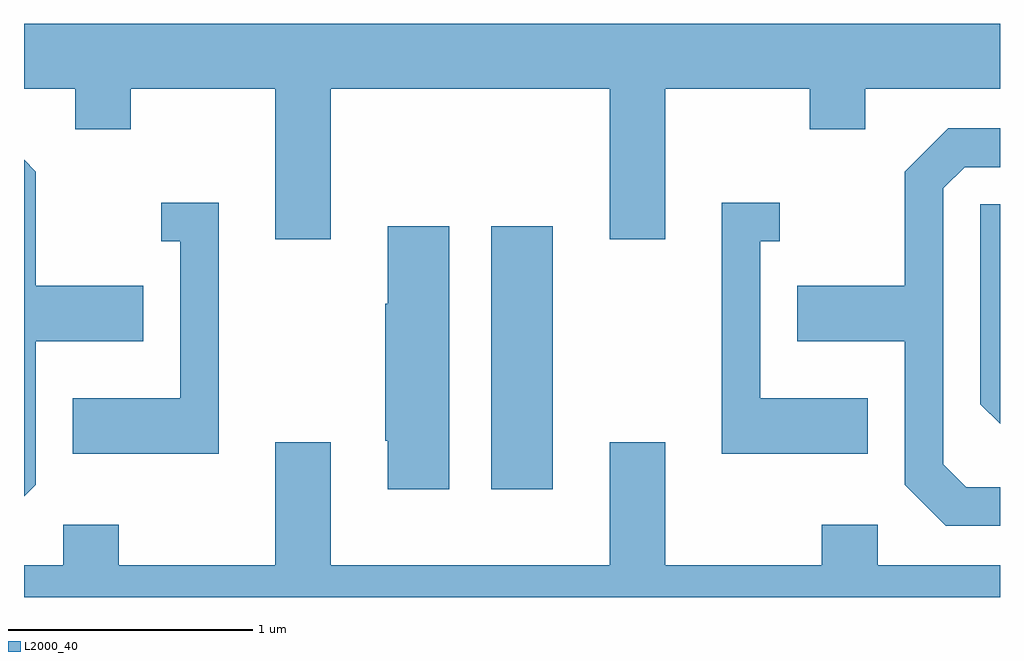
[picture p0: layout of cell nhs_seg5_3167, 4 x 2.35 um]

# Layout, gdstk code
import gdstk
lib = gdstk.Library(unit=1e-6, precision=1e-09)
def R(c, l, rs):  # rectangles x0, y0, x1, y1
    for r in rs: c.add(gdstk.rectangle(r[:2], r[2:], *l))
def P(c, l, *ps):  # polygons
    for p in ps: c.add(gdstk.Polygon(p, *l))
L2000_40 = (2000, 40)

nhs_seg5_3167 = lib.new_cell('nhs_seg5_3167')
R(nhs_seg5_3167, L2000_40, [(281.526,1428.516,281.779,1429.594)])
P(nhs_seg5_3167, L2000_40, [(280.869,1430.156),(282.011,1430.156),(282.011,1429.541),(282.239,1429.541),(282.239,1430.156),(282.831,1430.156),(282.831,1429.991),(283.059,1429.991),(283.059,1430.156),(283.611,1430.156),(283.611,1430.424),(279.611,1430.424),(279.611,1430.156),(279.821,1430.156),(279.821,1429.991),(280.049,1429.991),(280.049,1430.156),(280.641,1430.156),(280.641,1429.541),(280.869,1429.541)],
  [(283.611,1428.524),(283.472,1428.524),(283.379,1428.617),(283.379,1429.749),(283.467,1429.836),(283.611,1429.836),(283.611,1429.994),(283.399,1429.994),(283.221,1429.817),(283.221,1429.349),(282.781,1429.349),(282.781,1429.121),(283.221,1429.121),(283.221,1428.534),(283.389,1428.366),(283.611,1428.366)],
  [(279.659,1428.534),(279.659,1429.121),(280.099,1429.121),(280.099,1429.349),(279.659,1429.349),(279.659,1429.817),(279.611,1429.865),(279.611,1428.486)],
  [(280.409,1429.689),(280.173,1429.689),(280.173,1429.531),(280.251,1429.531),(280.251,1428.889),(279.811,1428.889),(279.811,1428.661),(280.409,1428.661)],
  [(283.069,1428.889),(282.629,1428.889),(282.629,1429.531),(282.708,1429.531),(282.708,1429.689),(282.471,1429.689),(282.471,1428.661),(283.069,1428.661)],
  [(283.611,1429.684),(283.531,1429.684),(283.531,1428.864),(283.611,1428.784)],
  [(281.354,1429.594),(281.101,1429.594),(281.101,1429.275),(281.091,1429.275),(281.091,1428.715),(281.101,1428.715),(281.101,1428.516),(281.354,1428.516)],
  [(283.611,1428.204),(283.109,1428.204),(283.109,1428.369),(282.881,1428.369),(282.881,1428.204),(282.239,1428.204),(282.239,1428.709),(282.011,1428.709),(282.011,1428.204),(280.869,1428.204),(280.869,1428.709),(280.641,1428.709),(280.641,1428.204),(279.999,1428.204),(279.999,1428.369),(279.771,1428.369),(279.771,1428.204),(279.611,1428.204),(279.611,1428.072),(283.611,1428.072)])

lib.write_gds('nhs_seg5_3167.gds')
